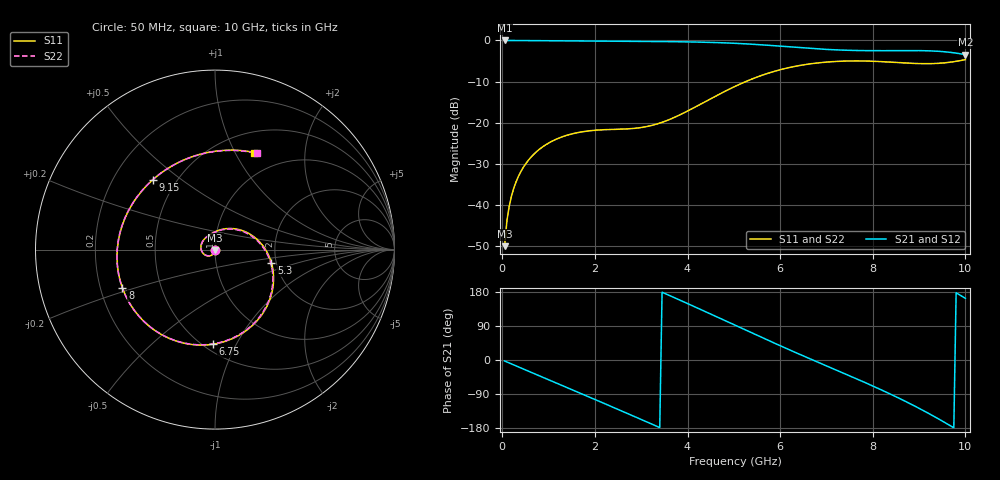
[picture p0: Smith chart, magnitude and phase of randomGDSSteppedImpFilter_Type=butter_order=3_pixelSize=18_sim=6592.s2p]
! freq	dB(S11)	phase(S11)	dB(S12)	phase(S12)
!  dB(S21)	phase(S21)	dB(S22)	phase(S22)
!S-par simulation data
#  GHz  S  DB  R 50
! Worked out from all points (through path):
!   200 points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, 50 MHz to 10 GHz, reference 50 ohm
!   highest |S21| = -0.01 dB at 50 MHz (marker M1); lowest = -3.5 dB at 10 GHz (marker M2)
!   group delay of S21, straight-line fit = 152 ps
!   lowest |S11| = -50.1 dB at 50 MHz (marker M3), VSWR 1.01, Z = 50 - j0.313 ohm
!   |S11| at or under -10 dB: start of sweep to 5.259 GHz
!   |S22| runs from -50.1 to -4.7 dB; largest |S21 - S12| = 0
!   S11 on the Smith chart (normalised r, x): 50 MHz: 1.00, -0.01; 5.3 GHz: 1.88, -0.31; 6.75 GHz: 0.55, -0.81; 8 GHz: 0.29, -0.18; 9.15 GHz: 0.37, +0.39; 10 GHz: 0.73, +1.20
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0.05  -50.07 -85.6  -0.01 -2.6  -0.01 -2.6  -50.07 -85.6
0.1  -43.85 -91.6  -0.01 -5.3  -0.01 -5.3  -43.85 -91.7
0.2  -37.81 -98.9  -0.02 -10.5  -0.02 -10.5  -37.81 -99.0
0.5  -30.11 -116.2  -0.04 -26.1  -0.04 -26.1  -30.11 -116.4
1.15  -24.11 -150.8  -0.09 -59.9  -0.09 -59.9  -24.11 -151.4
1.75  -22.19 177.6  -0.13 -91.1  -0.13 -91.1  -22.18 176.7
2.5  -21.62 137.5  -0.18 -130.4  -0.18 -130.4  -21.60 135.7
2.95  -21.27 113.9  -0.22 -154.3  -0.22 -154.3  -21.25 111.6
3.4  -20.12 90.5  -0.26 -178.4  -0.26 -178.4  -20.10 87.9
3.85  -18.03 66.4  -0.32 157.2  -0.32 157.2  -18.01 63.9
4.35  -15.09 39.1  -0.43 129.7  -0.43 129.7  -15.08 36.8
5.05  -11.05 0.5  -0.71 90.5  -0.71 90.5  -11.04 -1.3
5.3  -9.81 -13.4  -0.86 76.5  -0.86 76.5  -9.80 -14.9
6  -7.13 -51.7  -1.40 37.7  -1.40 37.7  -7.13 -53.0
6.7  -5.62 -88.9  -1.98 0.2  -1.98 0.2  -5.62 -90.0
6.75  -5.55 -91.5  -2.02 -2.4  -2.02 -2.4  -5.55 -92.6
7.35  -5.04 -122.7  -2.36 -33.8  -2.36 -33.8  -5.04 -123.8
8  -5.07 -157.5  -2.50 -68.6  -2.50 -68.6  -5.06 -158.7
8.35  -5.26 -177.4  -2.49 -88.2  -2.49 -88.2  -5.25 -178.7
9.15  -5.66 131.8  -2.51 -137.2  -2.51 -137.2  -5.65 130.4
9.6  -5.39 99.2  -2.81 -168.1  -2.81 -168.1  -5.38 97.8
10  -4.67 67.9  -3.48 162.7  -3.48 162.7  -4.66 66.6
